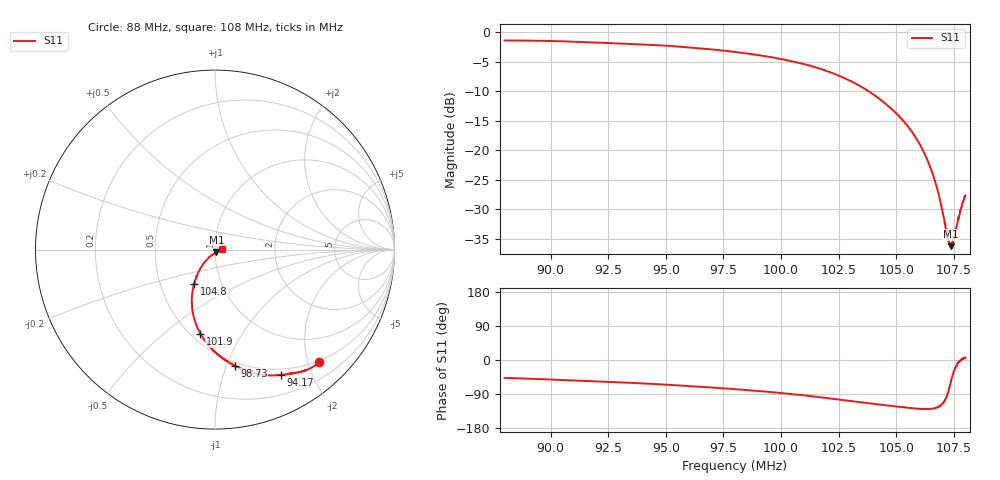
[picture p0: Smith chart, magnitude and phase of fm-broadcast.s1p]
! Calibrated averaged scanner-service zoom
# Hz S RI R 50
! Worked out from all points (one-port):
!   2001 points, 88 MHz to 108 MHz, reference 50 ohm
!   lowest |S11| = -36.2 dB at 107.4 MHz (marker M1), VSWR 1.03, Z = 50.8 - j1.36 ohm
!   |S11| at or under -10 dB: 103.8 MHz to end of sweep
!   S11 on the Smith chart (normalised r, x): 88 MHz: 0.47, -2.20; 94.17 MHz: 0.42, -1.57; 98.73 MHz: 0.47, -1.07; 101.9 MHz: 0.56, -0.68; 104.8 MHz: 0.74, -0.30; 108 MHz: 1.09, +0.01
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8.8e7  0.5809 -0.6287
9.05e7  0.5101 -0.6706
9.3e7  0.4147 -0.6917
9.417e7  0.3658 -0.6985
9.55e7  0.2987 -0.7006
9.8e7  0.1545 -0.6668
9.873e7  0.1093 -0.6464
1.005e8  -0.00173 -0.5689
1.0193e8  -0.0813 -0.4694
1.03e8  -0.1194 -0.3704
1.0396e8  -0.1291 -0.2737
1.0478e8  -0.1166 -0.1936
1.055e8  -0.0942 -0.1297
1.0578e8  -0.082 -0.1065
1.0607e8  -0.068 -0.0841
1.063e8  -0.0556 -0.0675
1.0651e8  -0.0434 -0.0541
1.0668e8  -0.0332 -0.0439
1.0686e8  -0.0218 -0.0346
1.0699e8  -0.0142 -0.0286
1.0725e8  0.00123 -0.0176
1.073e8  0.0045 -0.0159
1.0736e8  0.00777 -0.0134
1.0741e8  0.0109 -0.0119
1.0749e8  0.0152 -0.00926
1.078e8  0.0317 -0.000359
1.0791e8  0.0375 0.0025
1.08e8  0.0414 0.00448
